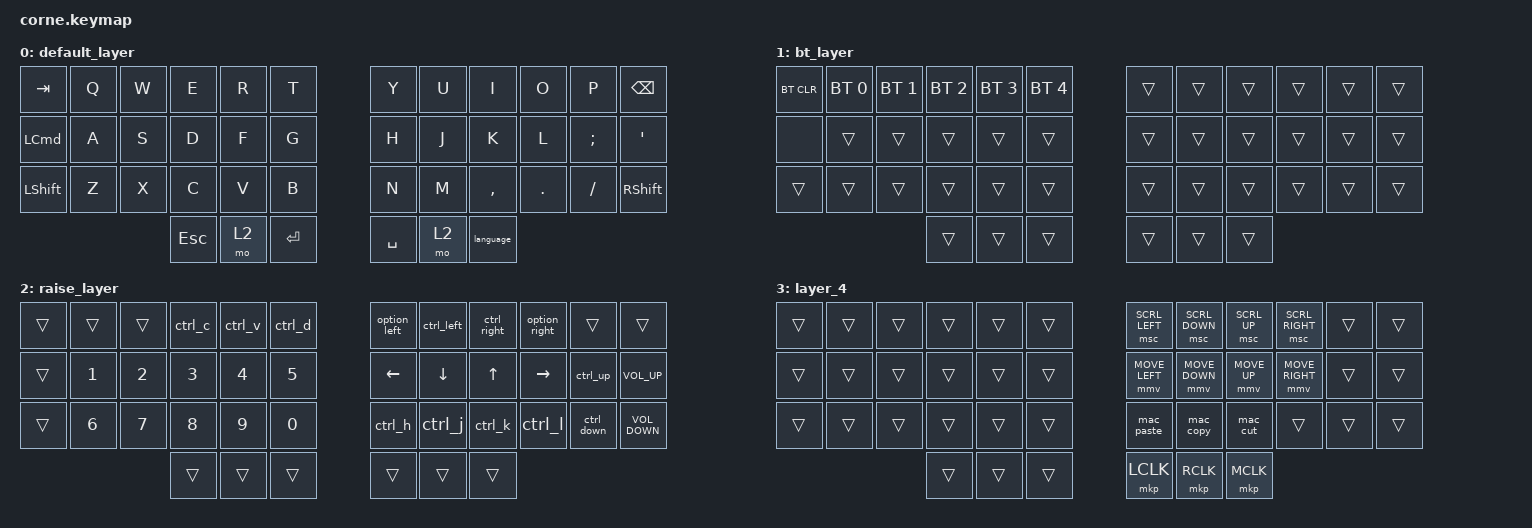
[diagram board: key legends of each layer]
/*
 * Copyright (c) 2020 The ZMK Contributors
 *
 * SPDX-License-Identifier: MIT
 */

#include <behaviors.dtsi>
#include <dt-bindings/zmk/bt.h>
#include <dt-bindings/zmk/keys.h>
#include <dt-bindings/zmk/pointing.h>

/ {
    macros {
        dashboard: dashboard {
            compatible = "zmk,behavior-macro";
            label = "DASHBOARD";
            #binding-cells = <0>;
            bindings =
                <&macro_press>,
                <&kp LGUI>,
                <&macro_tap>,
                <&kp A>,
                <&macro_release>,
                <&kp LGUI>;
        };

        language: language {
            compatible = "zmk,behavior-macro";
            label = "LANGUAGE";
            #binding-cells = <0>;
            bindings = <&macro_tap>, <&kp LA(LC(SPACE))>;
        };

        alt_tab: alt_tab {
            compatible = "zmk,behavior-macro";
            label = "ALT_TAB";
            #binding-cells = <0>;
            bindings =
                <&macro_press>,
                <&kp LEFT_ALT>,
                <&macro_tap>,
                <&kp TAB>,
                <&macro_release>,
                <&kp LALT>;
        };

        screenshot: screenshot {
            compatible = "zmk,behavior-macro";
            #binding-cells = <0>;
            bindings =
                <&kp LEFT_COMMAND &kp LEFT_SHIFT>,
                <&macro_wait_time 5>,
                <&kp NUMBER_4>;

            label = "SCREENSHOT";
        };

        ctrl_right: ctrl_right {
            compatible = "zmk,behavior-macro";
            #binding-cells = <0>;
            bindings =
                <&macro_press>,
                <&kp LEFT_CONTROL>,
                <&macro_tap>,
                <&kp RIGHT>,
                <&macro_release>,
                <&kp LEFT_CONTROL>;

            label = "CTRL_RIGHT";
        };

        ctrl_left: ctrl_left {
            compatible = "zmk,behavior-macro";
            #binding-cells = <0>;
            bindings =
                <&macro_press>,
                <&kp LEFT_CONTROL>,
                <&macro_tap>,
                <&kp LEFT>,
                <&macro_release>,
                <&kp LEFT_CONTROL>;

            label = "CTRL_LEFT";
        };

        ctrl_up: ctrl_up {
            compatible = "zmk,behavior-macro";
            #binding-cells = <0>;
            bindings =
                <&macro_press>,
                <&kp LEFT_CONTROL>,
                <&macro_tap>,
                <&kp UP>,
                <&macro_release>,
                <&kp LEFT_CONTROL>;

            label = "CTRL_UP";
        };

        ctrl_down: ctrl_down {
            compatible = "zmk,behavior-macro";
            #binding-cells = <0>;
            bindings =
                <&macro_press>,
                <&kp LEFT_CONTROL>,
                <&macro_tap>,
                <&kp DOWN>,
                <&macro_release>,
                <&kp LEFT_CONTROL>;

            label = "CTRL_DOWN";
        };

        ctrl_h: ctrl_h {
            compatible = "zmk,behavior-macro";
            #binding-cells = <0>;
            bindings =
                <&macro_press>,
                <&kp LEFT_CONTROL>,
                <&macro_tap>,
                <&kp H>,
                <&macro_release>,
                <&kp LEFT_CONTROL>;

            label = "CTRL_H";
        };

        ctrl_j: ctrl_j {
            compatible = "zmk,behavior-macro";
            #binding-cells = <0>;
            bindings =
                <&macro_press>,
                <&kp LEFT_CONTROL>,
                <&macro_tap>,
                <&kp J>,
                <&macro_release>,
                <&kp LEFT_CONTROL>;

            label = "CTRL_J";
        };

        ctrl_k: ctrl_k {
            compatible = "zmk,behavior-macro";
            #binding-cells = <0>;
            bindings =
                <&macro_press>,
                <&kp LEFT_CONTROL>,
                <&macro_tap>,
                <&kp K>,
                <&macro_release>,
                <&kp LEFT_CONTROL>;

            label = "CTRL_K";
        };

        ctrl_l: ctrl_l {
            compatible = "zmk,behavior-macro";
            #binding-cells = <0>;
            bindings =
                <&macro_press>,
                <&kp LEFT_CONTROL>,
                <&macro_tap>,
                <&kp L>,
                <&macro_release>,
                <&kp LEFT_CONTROL>;

            label = "CTRL_L";
        };

        ctrl_c: ctrl_c {
            compatible = "zmk,behavior-macro";
            #binding-cells = <0>;
            bindings =
                <&macro_press>,
                <&kp LEFT_CONTROL>,
                <&macro_tap>,
                <&kp C>,
                <&macro_release>,
                <&kp LEFT_CONTROL>;

            label = "CTRL_C";
        };

        ctrl_v: ctrl_v {
            compatible = "zmk,behavior-macro";
            #binding-cells = <0>;
            bindings =
                <&macro_press>,
                <&kp LEFT_CONTROL>,
                <&macro_tap>,
                <&kp V>,
                <&macro_release>,
                <&kp LEFT_CONTROL>;

            label = "CTRL_V";
        };

        ctrl_d: ctrl_d {
            compatible = "zmk,behavior-macro";
            #binding-cells = <0>;
            bindings =
                <&macro_press>,
                <&kp LEFT_CONTROL>,
                <&macro_tap>,
                <&kp D>,
                <&macro_release>,
                <&kp LEFT_CONTROL>;

            label = "CTRL_D";
        };

        option_right: option_right {
            compatible = "zmk,behavior-macro";
            #binding-cells = <0>;
            bindings =
                <&macro_press>,
                <&kp LEFT_ALT>,
                <&macro_tap>,
                <&kp RIGHT>,
                <&macro_release>,
                <&kp LEFT_ALT>;

            label = "OPTION_RIGHT";
        };

        option_left: option_left {
            compatible = "zmk,behavior-macro";
            #binding-cells = <0>;
            bindings =
                <&macro_press>,
                <&kp LEFT_ALT>,
                <&macro_tap>,
                <&kp LEFT>,
                <&macro_release>,
                <&kp LEFT_ALT>;

            label = "OPTION_LEFT";
        };

        option_enter: option_enter {
            compatible = "zmk,behavior-macro";
            #binding-cells = <0>;
            bindings = <&macro_tap>, <&kp LA(ENTER)>;

            label = "OPTION_ENTER";
        };

        mac_copy: mac_copy {
            compatible = "zmk,behavior-macro";
            #binding-cells = <0>;
            bindings = <&macro_tap>, <&kp LG(C)>;

            label = "MAC_COPY";
        };

        mac_paste: mac_paste {
            compatible = "zmk,behavior-macro";
            #binding-cells = <0>;
            bindings = <&macro_tap>, <&kp LG(V)>;

            label = "MAC_PASTE";
        };

        mac_cut: mac_cut {
            compatible = "zmk,behavior-macro";
            #binding-cells = <0>;
            bindings = <&macro_tap>, <&kp LG(X)>;

            label = "MAC_CUT";
        };
    };

    combos {
        compatible = "zmk,combos";

        switch_normal_bt {
            bindings = <&tog 1>;
            key-positions = <24 35>;
        };

        option_enter {
            bindings = <&option_enter>;
            key-positions = <24 37>;
        };

        toggle_mouse {
            bindings = <&tog 3>;
            key-positions = <38 39>;
        };

        minus {
            bindings = <&kp KP_MINUS>;
            key-positions = <18 19 20>;
            layers = <0 2>;
        };

        underscore {
            bindings = <&kp UNDERSCORE>;
            key-positions = <30 31 20>;
        };

        equal {
            bindings = <&kp KP_EQUAL>;
            key-positions = <6 7 20>;
        };

        plus {
            bindings = <&kp KP_PLUS>;
            key-positions = <19 20 30>;
        };

        scroll_up {
            bindings = <&msc SCRL_UP>;
            key-positions = <19 22>;
        };

        scroll_down {
            bindings = <&msc SCRL_DOWN>;
            key-positions = <31 34>;
        };

        scroll_left {
            bindings = <&msc SCRL_LEFT>;
            key-positions = <31 22>;
        };

        scroll_right {
            bindings = <&msc SCRL_RIGHT>;
            key-positions = <34 19>;
        };

        carat {
            bindings = <&kp CARET>;
            key-positions = <31 20 33>;
        };

        exclamation {
            bindings = <&kp EXCL>;
            key-positions = <13 14 15>;
        };

        dollar {
            bindings = <&kp DOLLAR>;
            key-positions = <13 14 3>;
        };

        percent {
            bindings = <&kp PERCENT>;
            key-positions = <13 14 27>;
        };

        asterisk {
            bindings = <&kp ASTERISK>;
            key-positions = <19 21 8>;
        };

        octothrope {
            bindings = <&kp HASH>;
            key-positions = <15 5 16>;
        };

        at {
            bindings = <&kp AT>;
            key-positions = <15 14 28>;
        };

        ampersand {
            bindings = <&kp AMPERSAND>;
            key-positions = <22 8 21>;
        };

        pipe {
            bindings = <&kp PIPE>;
            key-positions = <22 32 21>;
        };

        forward_slash {
            bindings = <&kp SLASH>;
            key-positions = <15 4 14>;
        };

        back_slash {
            bindings = <&kp BACKSLASH>;
            key-positions = <7 20 21>;
        };

        left_brace {
            bindings = <&kp LEFT_BRACE>;
            key-positions = <14 15 16>;
        };

        right_brace {
            bindings = <&kp RIGHT_BRACE>;
            key-positions = <21 20 19>;
        };

        left_bracket {
            bindings = <&kp LEFT_BRACKET>;
            key-positions = <16 27 26>;
        };

        right_bracket {
            bindings = <&kp RIGHT_BRACKET>;
            key-positions = <33 19 32>;
        };

        left_paren {
            bindings = <&kp LEFT_PARENTHESIS>;
            key-positions = <2 16 3>;
        };

        right_paren {
            bindings = <&kp RIGHT_PARENTHESIS>;
            key-positions = <9 19 8>;
        };

        grave {
            bindings = <&kp GRAVE>;
            key-positions = <19 32>;
        };

        tilde {
            bindings = <&kp TILDE>;
            key-positions = <14 3 16>;
        };

        control_c {
            bindings = <&kp LC(C)>;
            key-positions = <24 27 36>;
        };

        control_v {
            bindings = <&kp LC(V)>;
            key-positions = <24 28 36>;
        };

        control_d {
            bindings = <&kp LC(D)>;
            key-positions = <24 15 36>;
        };
    };

    keymap {
        compatible = "zmk,keymap";

        default_layer {
            // -----------------------------------------------------------------------------------------
            // |  TAB |  Q  |  W  |  E  |  R  |  T  |   |  Y  |  U   |  I  |  O  |  P  | BKSP |
            // | CTRL |  A  |  S  |  D  |  F  |  G  |   |  H  |  J   |  K  |  L  |  ;  |  '   |
            // | SHFT |  Z  |  X  |  C  |  V  |  B  |   |  N  |  M   |  ,  |  .  |  /  | ESC  |
            //                    | GUI | LWR | SPC |   | ENT | RSE  | ALT |

            bindings = <
&kp TAB           &kp Q  &kp W  &kp E       &kp R  &kp T        &kp Y      &kp U  &kp I      &kp O    &kp P     &kp BACKSPACE
&kp LEFT_COMMAND  &kp A  &kp S  &kp D       &kp F  &kp G        &kp H      &kp J  &kp K      &kp L    &kp SEMI  &kp SQT
&kp LSHFT         &kp Z  &kp X  &kp C       &kp V  &kp B        &kp N      &kp M  &kp COMMA  &kp DOT  &kp FSLH  &kp RIGHT_SHIFT
                                &kp ESCAPE  &mo 2  &kp ENTER    &kp SPACE  &mo 2  &language
            >;
        };

        bt_layer {
            bindings = <
&bt BT_CLR  &bt BT_SEL 0  &bt BT_SEL 1  &bt BT_SEL 2  &bt BT_SEL 3  &bt BT_SEL 4    &trans  &trans  &trans  &trans  &trans  &trans
&none       &trans        &trans        &trans        &trans        &trans          &trans  &trans  &trans  &trans  &trans  &trans
&trans      &trans        &trans        &trans        &trans        &trans          &trans  &trans  &trans  &trans  &trans  &trans
                                        &trans        &trans        &trans          &trans  &trans  &trans
            >;
        };

        raise_layer {
            // -----------------------------------------------------------------------------------------
            // |  TAB |  !  |  @  |  #  |  $  |  %  |   |  ^  |  &  |  *  |  (  |  )  | BKSP |
            // | CTRL |     |     |     |     |     |   |  -  |  =  |  [  |  ]  |  \  |  `   |
            // | SHFT |     |     |     |     |     |   |  _  |  +  |  {  |  }  | "|" |  ~   |
            //                    | GUI |     | SPC |   | ENT |     | ALT |

            bindings = <
&trans  &trans        &trans        &ctrl_c       &ctrl_v       &ctrl_d         &option_left  &ctrl_left  &ctrl_right  &option_right  &trans      &trans
&trans  &kp NUMBER_1  &kp NUMBER_2  &kp NUMBER_3  &kp NUMBER_4  &kp NUMBER_5    &kp LEFT      &kp DOWN    &kp UP       &kp RIGHT      &ctrl_up    &kp C_VOLUME_UP
&trans  &kp NUMBER_6  &kp NUMBER_7  &kp NUMBER_8  &kp NUMBER_9  &kp NUMBER_0    &ctrl_h       &ctrl_j     &ctrl_k      &ctrl_l        &ctrl_down  &kp C_VOLUME_DOWN
                                    &trans        &trans        &trans          &trans        &trans      &trans
            >;
        };

        layer_4 {
            bindings = <
&trans  &trans  &trans  &trans  &trans  &trans    &msc SCRL_LEFT  &msc SCRL_DOWN  &msc SCRL_UP  &msc SCRL_RIGHT  &trans  &trans
&trans  &trans  &trans  &trans  &trans  &trans    &mmv MOVE_LEFT  &mmv MOVE_DOWN  &mmv MOVE_UP  &mmv MOVE_RIGHT  &trans  &trans
&trans  &trans  &trans  &trans  &trans  &trans    &mac_paste      &mac_copy       &mac_cut      &trans           &trans  &trans
                        &trans  &trans  &trans    &mkp LCLK       &mkp RCLK       &mkp MCLK
            >;
        };
    };
};
